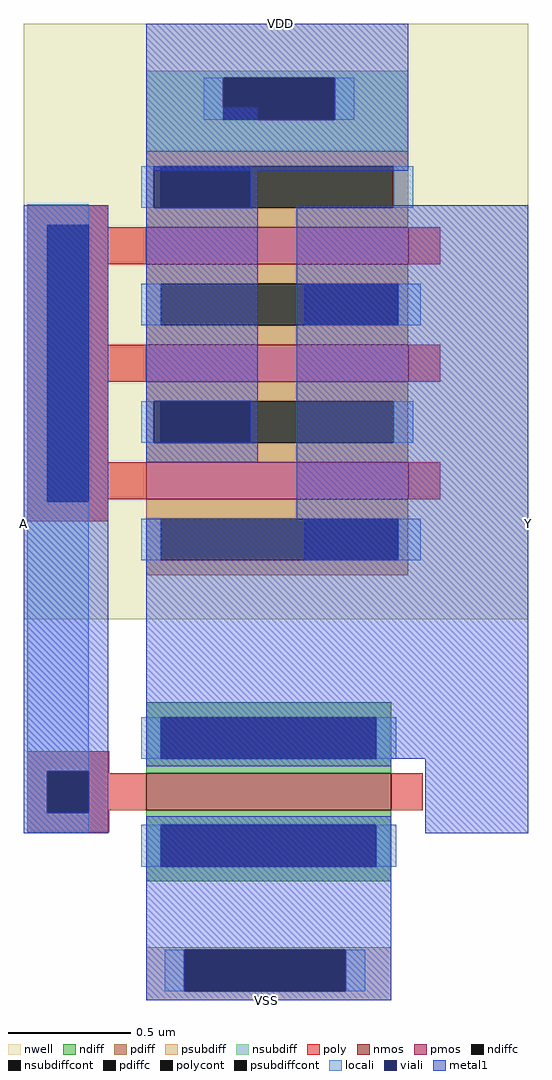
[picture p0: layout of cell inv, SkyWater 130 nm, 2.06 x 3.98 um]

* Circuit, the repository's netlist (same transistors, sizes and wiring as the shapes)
* SPICE3 file created from inv.ext - technology: sky130B

.subckt sky130_fd_pr__nfet_01v8_6H9P4D a_n73_n100# a_15_n100# a_n15_n126# VSUBS
X0 a_15_n100# a_n15_n126# a_n73_n100# VSUBS sky130_fd_pr__nfet_01v8 ad=0.29 pd=2.58 as=0.29 ps=2.58 w=1 l=0.15
.ends

.subckt efepmos_W107-L15-F3 a_n129_n204# a_n173_n107# w_n209_n207# a_n81_n107# VSUBS
X0 a_n81_n107# a_n129_n204# a_n173_n107# w_n209_n207# sky130_fd_pr__pfet_01v8 ad=0.3317 pd=2.76 as=0.17655 ps=1.4 w=1.07 l=0.15
X1 a_n81_n107# a_n129_n204# a_n173_n107# w_n209_n207# sky130_fd_pr__pfet_01v8 ad=0.17655 pd=1.4 as=0.3317 ps=2.76 w=1.07 l=0.15
X2 a_n173_n107# a_n129_n204# a_n81_n107# w_n209_n207# sky130_fd_pr__pfet_01v8 ad=0.17655 pd=1.4 as=0.17655 ps=1.4 w=1.07 l=0.15
.ends

.subckt inv VDD A Y VSS
Xsky130_fd_pr__nfet_01v8_6H9P4D_0 Y VSS A VSUBS sky130_fd_pr__nfet_01v8_6H9P4D
Xefepmos_W107-L15-F3_0 A VDD w_0_366# Y VSUBS efepmos_W107-L15-F3
.ends

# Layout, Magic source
magic
tech sky130B
magscale 1 2
<< nwell >>
rect 0 366 412 486
rect 101 347 104 366
rect 223 290 343 338
rect 326 288 343 290
rect 376 0 412 366
<< psubdiff >>
rect 100 -270 300 -268
rect 100 -304 131 -270
rect 263 -304 300 -270
rect 100 -311 300 -304
<< nsubdiff >>
rect 100 442 314 448
rect 100 408 163 442
rect 254 408 314 442
rect 100 382 314 408
<< psubdiffcont >>
rect 131 -304 263 -270
<< nsubdiffcont >>
rect 163 408 254 442
<< poly >>
rect 3 -124 70 -108
rect 3 -158 19 -124
rect 53 -126 70 -124
rect 53 -156 75 -126
rect 53 -158 70 -156
rect 3 -174 70 -158
<< polycont >>
rect 19 -158 53 -124
<< locali >>
rect 147 408 163 442
rect 254 408 270 442
rect 3 -124 53 339
rect 3 -158 19 -124
rect 3 -174 53 -158
rect 115 -304 131 -270
rect 263 -304 279 -270
<< viali >>
rect 163 408 254 442
rect 19 -158 53 -124
rect 131 -304 263 -270
<< metal1 >>
rect 100 442 314 486
rect 100 408 163 442
rect 254 408 314 442
rect 100 366 314 408
rect 101 347 104 366
rect 0 80 53 338
rect 223 82 412 338
rect 0 -124 69 80
rect 100 -114 412 82
rect 0 -158 19 -124
rect 53 -158 69 -124
rect 0 -175 69 -158
rect 100 -270 300 -161
rect 328 -175 412 -114
rect 100 -304 131 -270
rect 263 -304 300 -270
rect 100 -311 300 -304
use efepmos_W107-L15-F3  efepmos_W107-L15-F3_0
transform 0 1 207 -1 0 209
box -209 -207 209 169
use sky130_fd_pr__nfet_01v8_6H9P4D  sky130_fd_pr__nfet_01v8_6H9P4D_0
transform 0 1 200 -1 0 -141
box -73 -126 73 126
<< labels >>
rlabel metal1 0 78 0 78 3 A
port 1 e
rlabel metal1 198 -311 198 -311 5 VSS
port 2 s
rlabel metal1 210 486 210 486 5 VDD
port 3 s
rlabel metal1 412 78 412 78 3 Y
port 4 e
<< end >>

# cell efepmos_W107-L15-F3: kit device sky130_fd_pr__pfet_01v8, w 1.07 l 0.15 m 1 nf 3 diffcov 100 polycov 100 guard 0 glc 1 grc 1 gtc 1 gbc 1 tbcov 100 rlcov 100 topc 0 botc 0 poverlap 0 doverlap 1 lmin 0.15 wmin 0.42 compatible {sky130_fd_pr__pfet_01v8 sky130_fd_pr__pfet_01v8_lvt sky130_fd_pr__pfet_01v8_hvt sky130_fd_pr__pfet_g5v0d10v5} full_metal 1 viasrc 100 viadrn 100 viagate 100 viagb 0 viagr 0 viagl 0 viagt 0

# cell sky130_fd_pr__nfet_01v8_6H9P4D: kit device sky130_fd_pr__nfet_01v8, w 1 l 0.150 m 1 nf 1 diffcov 100 polycov 100 guard 0 glc 1 grc 1 gtc 1 gbc 1 tbcov 100 rlcov 100 topc 0 botc 0 poverlap 0 doverlap 1 lmin 0.15 wmin 0.42 compatible {sky130_fd_pr__nfet_01v8 sky130_fd_pr__nfet_01v8_lvt sky130_fd_bs_flash__special_sonosfet_star sky130_fd_pr__nfet_g5v0d10v5 sky130_fd_pr__nfet_05v0_nvt sky130_fd_pr__nfet_03v3_nvt} full_metal 1 viasrc 100 viadrn 100 viagate 100 viagb 0 viagr 0 viagl 0 viagt 0
